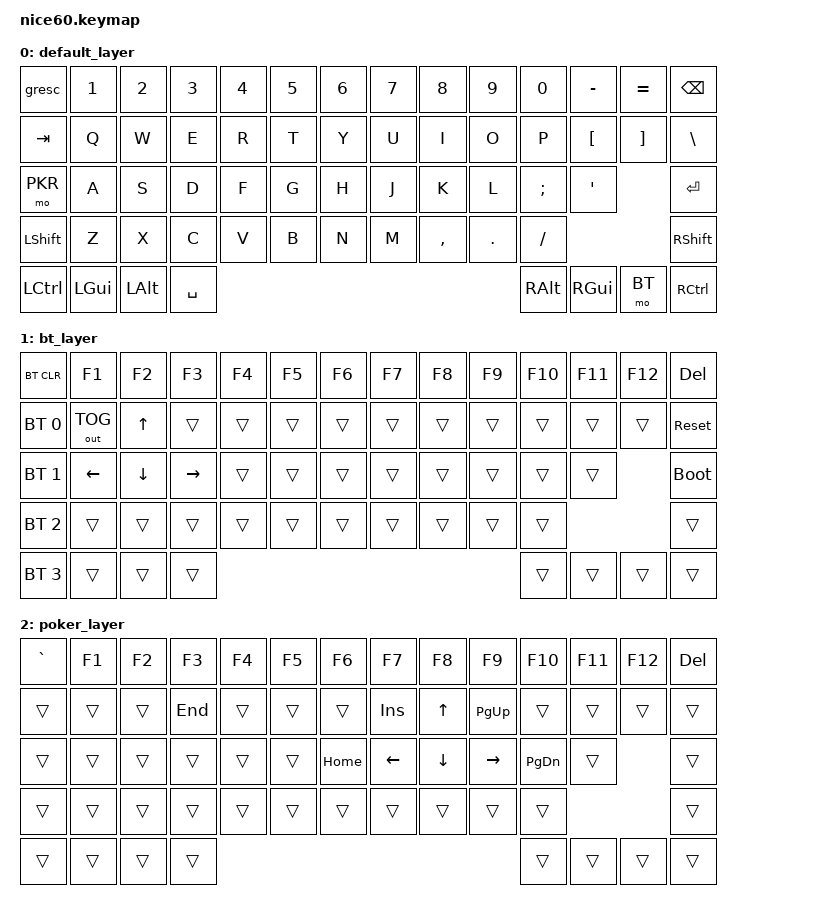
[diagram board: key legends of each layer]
#include <behaviors.dtsi>
#include <dt-bindings/zmk/keys.h>
#include <dt-bindings/zmk/bt.h>
#include <dt-bindings/zmk/outputs.h>
#include <dt-bindings/zmk/reset.h>
#include <dt-bindings/zmk/ext_power.h>

#define DEFAULT 0
#define BT      1
#define PKR     2

/ {
	chosen {
		zmk,battery = &vbatt;
	};

	vbatt: vbatt {
		compatible = "zmk,battery-nrf-vddh";
		label = "VBATT";
	};

	keymap {
		compatible = "zmk,keymap";

		default_layer {
				// ------------------------------------------------------------------------------------------
				// | ESC |  1  |  2  |  3  |  4  |  5  |  6  |  7  |  8  |  9  |  0  |  -  |  =  |   BKSP   |
				// | TAB  |  Q  |  W  |  E  |  R  |  T  |  Y  |  U  |  I  |  O  |  P  |  [  |  ]  |   "|"   |
				// | MO(2) |  A  |  S  |  D  |  F  |  G  |  H  |  J  |  K  |  L  |  ;  |  '  |     ENTER    |
				// |  SHIFT  |  Z  |  X  |  C  |  V  |  B  |  N  |  M  |  ,  |  .  |  /  |      SHIFT       |
				// |  CTL  |  WIN  |  ALT  |            SPACE              |  ALT  |  WIN  |  MO(1) |  CTL  |
				// ------------------------------------------------------------------------------------------
			bindings = <
				&gresc    &kp N1   &kp N2 &kp N3 &kp N4 &kp N5 &kp N6 &kp N7 &kp  N8   &kp  N9  &kp  N0  &kp MINUS &kp EQUAL &kp BSPC
				&kp TAB   &kp Q    &kp W  &kp E  &kp R  &kp T  &kp Y  &kp U  &kp  I    &kp  O   &kp  P   &kp LBKT &kp RBKT   &kp BSLH
				&mo PKR   &kp A    &kp S  &kp D  &kp F  &kp G  &kp H  &kp J  &kp  K    &kp  L   &kp SEMI &kp SQT             &kp RET
				&kp LSHFT &kp Z    &kp X  &kp C  &kp V  &kp B  &kp N  &kp M  &kp COMMA &kp DOT  &kp FSLH                     &kp RSHFT
				&kp LCTRL &kp LGUI &kp LALT            &kp SPACE                                    &kp RALT &kp RGUI &mo BT &kp RCTRL
			>;
		};
		bt_layer {
				// ------------------------------------------------------------------------------------------------
				// | BT CLR | F1  | F2  | F3  | F4  | F5  | F6  | F7  | F8  | F9  | F10  | F11 | F12 |     DEL    |
				// |  BT 1   | TOG |  UP  |    |     |     |     |     |     |     |      |     |     |           |
				// |   BT 2   |  LT  |  DN  |  RT  |     |     |     |      |     |     |     |      | BOOTLOADER |
				// |    BT 3     |     |      |      |     |     |     |     |     |     |     |                  |
				// |   BT 4  |      |      |                                    |         |       |       |       |
				// ------------------------------------------------------------------------------------------------
			bindings = <
				&bt BT_CLR   &kp F1       &kp F2   &kp F3    &kp F4 &kp F5 &kp F6 &kp F7 &kp F8  &kp F9 &kp F10 &kp F11 &kp F12 &kp DEL
				&bt BT_SEL 0 &out OUT_TOG &kp UP   &trans    &trans &trans &trans &trans &trans  &trans &trans  &trans  &trans  &sys_reset
				&bt BT_SEL 1 &kp LEFT     &kp DOWN &kp RIGHT &trans &trans &trans &trans &trans  &trans &trans  &trans          &bootloader
				&bt BT_SEL 2 &trans       &trans   &trans    &trans &trans &trans &trans &trans  &trans &trans                  &trans
				&bt BT_SEL 3 &trans       &trans             &trans                                     &trans  &trans  &trans  &trans
			>;
		};
		poker_layer {
				// ------------------------------------------------------------------------------------------
				// |  ~  |  F1  | F2  | F3  | F4  | F5  | F6  | F7  | F8  | F9  | F10  | F11 | F12 |   DEL  |
				// |      |     |     | END |     |     |     | INS |  UP | PG_UP | PG_DN |     |    |      |
				// |       |     |     |     |     |     | HOME| LEFT | DOWN | RIGHT |     |     |          |
				// |         |     |     |     |     |     |     |     |     |     |     |                  |
				// |       |       |       |                               |       |       |        |       |
				// ------------------------------------------------------------------------------------------
			bindings = <
				&kp GRAVE &kp F1  &kp F2  &kp F3  &kp F4  &kp F5  &kp F6    &kp F7    &kp F8    &kp F9     &kp F10    &kp F11  &kp F12  &kp DEL
				&trans    &trans  &trans  &kp END &trans  &trans  &trans    &kp INS   &kp UP    &kp PG_UP  &trans     &trans   &trans   &trans
				&trans    &trans  &trans  &trans  &trans  &trans  &kp HOME  &kp LEFT  &kp DOWN  &kp RIGHT  &kp PG_DN  &trans   &trans
				&trans    &trans  &trans  &trans  &trans  &trans  &trans    &trans    &trans    &trans     &trans     &trans
				&trans    &trans  &trans  &trans  &trans  &trans  &trans    &trans
			>;
		};

	};
};
